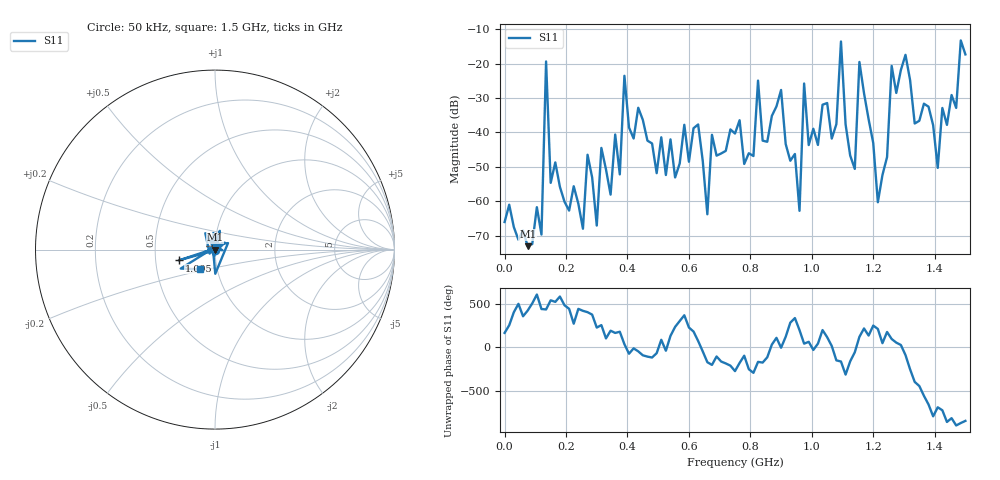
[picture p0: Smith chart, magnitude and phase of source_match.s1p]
! Created with skrf 1.8.0 (http://scikit-rf.org).
# Hz S RI R 50.0
!freq ReS11 ImS11
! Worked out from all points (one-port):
!   101 points, 50 kHz to 1.5 GHz, reference 50 ohm
!   lowest |S11| = -73.1 dB at 75.05 MHz (marker M1), VSWR 1.00, Z = 50 + j0.0196 ohm
!   |S11| at or under -10 dB: start of sweep to end of sweep
!   S11 on the Smith chart (normalised r, x): 50 kHz: 1.00, +0.00; 1.095 GHz: 0.66, -0.08; 1.5 GHz: 0.83, -0.19
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50000  -0.000483 0.000122
7.50475e7  0.000104 0.000196
1.20046e8  5.47e-05 0.000323
1.350455e8  0.0269 0.1045
1.50045e8  -0.00185 -1.71e-05
1.950435e8  -0.000544 0.000819
3.750375e8  -0.00246 3.85e-05
3.90037e8  0.0542 0.039
5.70031e8  0.0019 -0.00298
6.30029e8  0.00383 0.0125
6.60028e8  -0.000639 -9.51e-05
6.750275e8  -0.00855 0.00354
7.50025e8  0.000636 0.00964
8.10023e8  0.00183 0.00416
8.250225e8  -0.0555 -0.0122
9.450185e8  0.00446 -0.00196
9.60018e8  -0.000691 -0.000221
9.750175e8  0.0383 0.0345
1.065014e9  0.00788 0.0021
1.095014e9  -0.202 -0.0602
1.125012e9  -0.00436 -0.00151
1.140012e9  0.0016 -0.00248
1.155012e9  -0.0541 0.0913
1.21501e9  -0.000825 -0.000502
1.260008e9  -0.00934 0.0926
1.320006e9  -0.0163 0.0553
1.410003e9  0.00265 0.00153
1.5e9  -0.0812 -0.11
